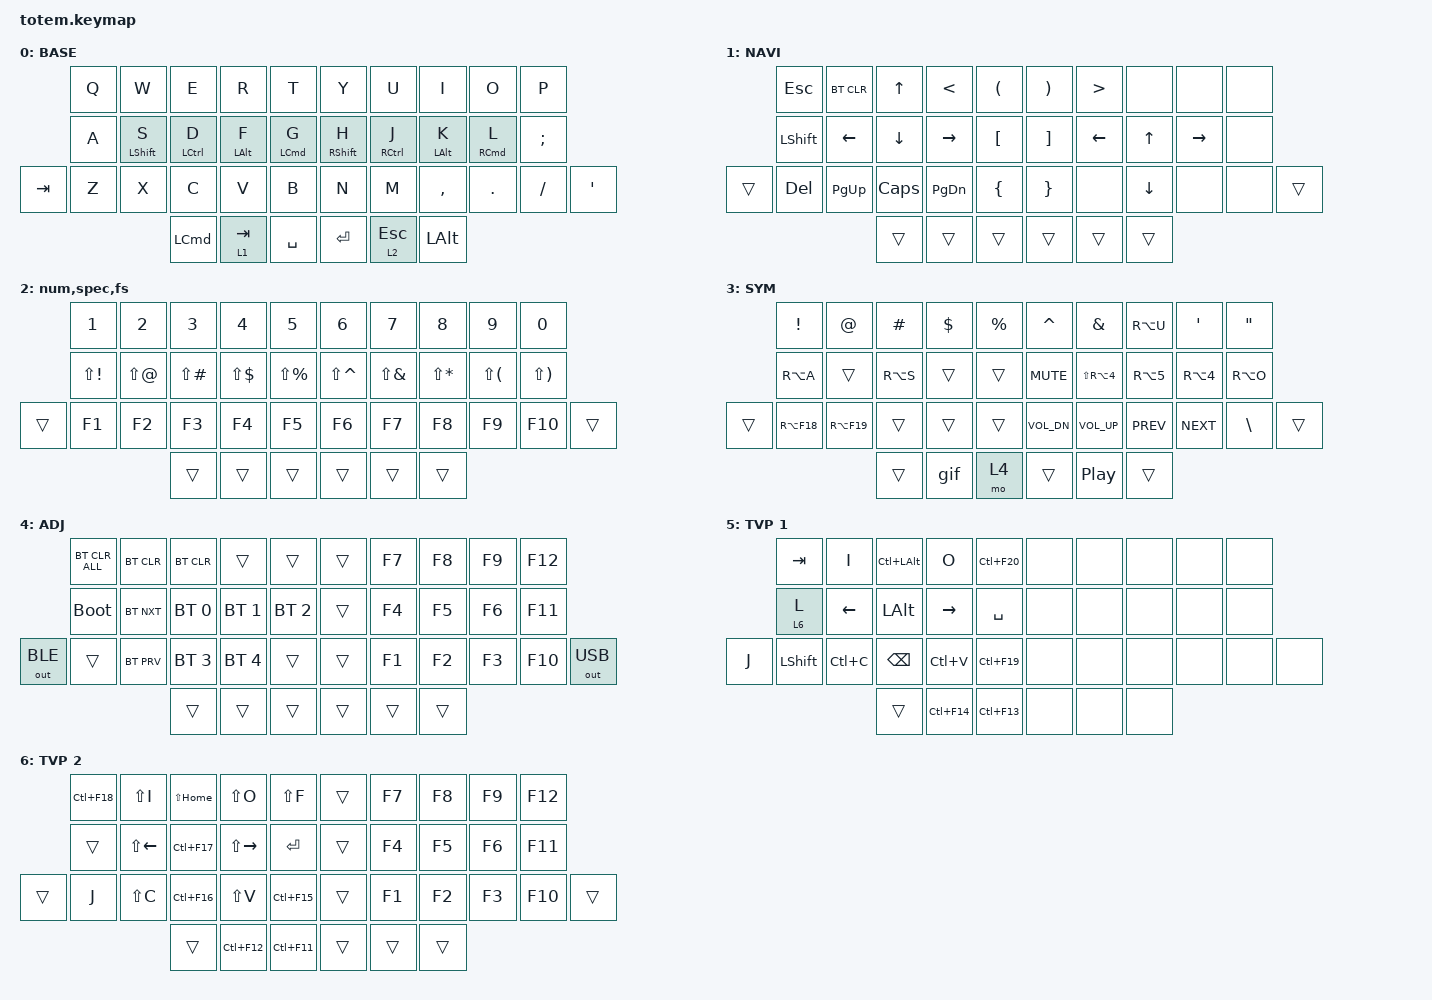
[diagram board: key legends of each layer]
//
//                                                        ▀▀▀▀▀     ▀▀▀▀▀          ▀▀█▀▀
//                                                        ▄▀▀▀▄  ▄  ▄▀▀▀▄  ▄  ▄▀▀▀▄  █  ▄▀▀▀▄
//                                                        █   █  █  █   █  █  █   █  █  █   █
//                                                         ▀▀▀   █   ▀▀▀   █   ▀▀▀   ▀   ▀▀▀
//                                                               █      ▄▄▄█▄▄▄    █   █  
//                                                               ▀      █  █  █     █▄█
//                                                             ▀▀▀▀▀    █  █  █      ▀
//                                                                      ▀  ▀  ▀
//
// ▄▄▄▄▄▄▄▄▄▄▄▄▄▄▄▄▄▄▄▄▄▄▄▄▄▄▄▄▄▄▄▄▄▄▄▄▄▄▄▄▄▄▄▄▄▄▄▄▄▄▄▄▄▄▄▄▄▄▄▄▄▄▄▄▄▄▄▄▄▄▄▄▄▄▄▄▄▄▄▄▄▄▄▄▄▄▄▄▄▄▄▄▄▄▄▄▄▄▄▄▄▄▄▄▄▄▄▄▄▄▄▄▄▄▄▄▄▄▄▄▄▄▄▄▄▄▄▄▄▄▄▄▄▄▄▄▄▄▄▄▄▄▄▄▄▄▄▄▄

#include <behaviors.dtsi>
#include <dt-bindings/zmk/bt.h>
#include <dt-bindings/zmk/keys.h>
#include <dt-bindings/zmk/outputs.h>

#define BASE 0
#define NAV  1
#define SYM  2
#define ADJ  3
#define TVP1 4
#define TVP2 5

&mt {
    quick-tap-ms = <100>;
    global-quick-tap;
    flavor = "tap-preferred";
    tapping-term-ms = <170>;
};

/ {
    combos {
        compatible = "zmk,combos";

        combo_esc {
            timeout-ms = <50>;
            key-positions = <0 1>;
            bindings = <&kp ESC>;
        };

        combo_tvp {
            timeout-ms = <100>;
            key-positions = <11 12 13>;
            bindings = <&tog 5>;
        };

        backspace {
            bindings = <&kp BACKSPACE>;
            key-positions = <8 9>;
        };

        tilde {
            bindings = <&kp GRAVE>;
            key-positions = <10 11>;
        };
    };

    macros {
        gif: gif {
            label = "giphy";
            compatible = "zmk,behavior-macro";
            #binding-cells = <0>;
            bindings =
                <&macro_press>,
                <&kp LSHFT>,
                <&macro_tap>,
                <&kp N2>,
                <&macro_release>,
                <&kp LSHFT>,
                <&macro_tap>,
                <&kp G &kp I &kp F>;
        };
    };

    keymap {
        compatible = "zmk,keymap";

        // ▄▄▄▄▄▄▄▄▄▄▄▄▄▄▄▄▄▄▄▄▄▄▄▄▄▄▄▄▄▄▄▄▄▄▄▄▄▄▄▄▄▄▄▄▄▄▄▄▄▄▄▄▄▄▄▄▄▄▄▄▄▄▄▄▄▄▄▄▄▄▄▄▄▄▄▄▄▄▄▄▄▄▄▄▄▄▄▄▄▄▄▄▄▄▄▄▄▄▄▄▄▄▄▄▄▄▄▄▄▄▄▄▄▄▄▄▄▄▄▄▄▄▄▄▄▄▄▄▄▄▄▄▄▄▄▄▄▄▄▄▄▄▄▄▄▄▄▄▄

        base_layer {
            // ┏━━━━━━━━━━━━━━━━━━━━━━━━━━━━━━━━━━━━━━━┓

            label = "BASE";

            // ┗━━━━━━━━━━━━━━━━━━━━━━━━━━━━━━━━━━━━━━━┛
            //             ┏━━━━━━━━━━━┳━━━━━━━━━━━┳━━━━━━━━━━━┳━━━━━━━━━━━┳━━━━━━━━━━━┓   ┏━━━━━━━━━━━┳━━━━━━━━━━━┳━━━━━━━━━━━┳━━━━━━━━━━━┳━━━━━━━━━━━┓
            //             ┃     Q     ┃     W     ┃     F     ┃     P     ┃     G     ┃   ┃     J     ┃     L     ┃     U     ┃     Y     ┃     ;     ┃
            //             ┣━━━━━━━━━━━╋━━━━━━━━━━━╋━━━━━━━━━━━╋━━━━━━━━━━━╋━━━━━━━━━━━┫   ┣━━━━━━━━━━━╋━━━━━━━━━━━╋━━━━━━━━━━━╋━━━━━━━━━━━╋━━━━━━━━━━━┫
            //             ┃     A     ┃     R     ┃     S     ┃     T     ┃     D     ┃   ┃     H     ┃     N     ┃     E     ┃     I     ┃     O     ┃
            // ┏━━━━━━━━━━━╋━━━━━━━━━━━╋━━━━━━━━━━━╋━━━━━━━━━━━╋━━━━━━━━━━━╋━━━━━━━━━━━┫   ┣━━━━━━━━━━━╋━━━━━━━━━━━╋━━━━━━━━━━━╋━━━━━━━━━━━╋━━━━━━━━━━━╋━━━━━━━━━━━┓
            // ┃     Q     ┃     Z     ┃     X     ┃     C     ┃     V     ┃     B     ┃   ┃     K     ┃     M     ┃     ,     ┃     .     ┃     /     ┃     \     ┃
            // ┗━━━━━━━━━━━┻━━━━━━━━━━━┻━━━━━━━━━━━╋━━━━━━━━━━━╋━━━━━━━━━━━╋━━━━━━━━━━━┫   ┣━━━━━━━━━━━╋━━━━━━━━━━━╋━━━━━━━━━━━╋━━━━━━━━━━━┻━━━━━━━━━━━┻━━━━━━━━━━━┛
            //                                     ┃    DEL    ┃    TAB    ┃    SPC    ┃   ┃   ENTER   ┃           ┃   BSPC    ┃
            //                                     ┗━━━━━━━━━━━┻━━━━━━━━━━━┻━━━━━━━━━━━┛   ┗━━━━━━━━━━━┻━━━━━━━━━━━┻━━━━━━━━━━━┛

            bindings = <
         &kp Q  &kp W             &kp E               &kp R           &kp T                 &kp Y              &kp U                &kp I           &kp O                &kp P
         &kp A  &mt LEFT_SHIFT S  &mt LEFT_CONTROL D  &mt LEFT_ALT F  &mt LEFT_COMMAND G    &mt RIGHT_SHIFT H  &mt RIGHT_CONTROL J  &mt LEFT_ALT K  &mt RIGHT_COMMAND L  &kp SEMICOLON
&kp TAB  &kp Z  &kp X             &kp C               &kp V           &kp B                 &kp N              &kp M                &kp COMMA       &kp DOT              &kp FSLH       &kp APOSTROPHE
                                  &kp LEFT_COMMAND    &lt 1 TAB       &kp SPACE             &kp RET            &lt 2 ESC            &kp LEFT_ALT
            >;
        };

        nav_layer {
            // ┏━━━━━━━━━━━━━━━━━━━━━━━━━━━━━━━━━━━━━━━┓

            label = "NAVI";

            // ┗━━━━━━━━━━━━━━━━━━━━━━━━━━━━━━━━━━━━━━━┛
            //             ┏━━━━━━━━━━━┳━━━━━━━━━━━┳━━━━━━━━━━━┳━━━━━━━━━━━┳━━━━━━━━━━━┓   ┏━━━━━━━━━━━┳━━━━━━━━━━━┳━━━━━━━━━━━┳━━━━━━━━━━━┳━━━━━━━━━━━┓
            //             ┃           ┃           ┃     UP    ┃           ┃     {     ┃   ┃     }     ┃     7     ┃     8     ┃     9     ┃     +     ┃
            //             ┣━━━━━━━━━━━╋━━━━━━━━━━━╋━━━━━━━━━━━╋━━━━━━━━━━━╋━━━━━━━━━━━┫   ┣━━━━━━━━━━━╋━━━━━━━━━━━╋━━━━━━━━━━━╋━━━━━━━━━━━╋━━━━━━━━━━━┫
            //             ┃   SHIFT   ┃   LEFT    ┃    DOWN   ┃   RIGHT   ┃     [     ┃   ┃     ]     ┃     4     ┃     5     ┃     6     ┃     -     ┃
            // ┏━━━━━━━━━━━╋━━━━━━━━━━━╋━━━━━━━━━━━╋━━━━━━━━━━━╋━━━━━━━━━━━╋━━━━━━━━━━━┫   ┣━━━━━━━━━━━╋━━━━━━━━━━━╋━━━━━━━━━━━╋━━━━━━━━━━━╋━━━━━━━━━━━╋━━━━━━━━━━━┓
            // ┃           ┃           ┃   P UP    ┃  C LOCK   ┃  P DOWN   ┃     (     ┃   ┃     )     ┃     1     ┃     2     ┃     3     ┃     *     ┃           ┃
            // ┗━━━━━━━━━━━┻━━━━━━━━━━━┻━━━━━━━━━━━╋━━━━━━━━━━━╋━━━━━━━━━━━╋━━━━━━━━━━━┫   ┣━━━━━━━━━━━╋━━━━━━━━━━━╋━━━━━━━━━━━╋━━━━━━━━━━━┻━━━━━━━━━━━┻━━━━━━━━━━━┛
            //                                     ┃           ┃    TAB    ┃    SPC    ┃   ┃    DEL    ┃     0     ┃           ┃
            //                                     ┗━━━━━━━━━━━┻━━━━━━━━━━━┻━━━━━━━━━━━┛   ┗━━━━━━━━━━━┻━━━━━━━━━━━┻━━━━━━━━━━━┛

            bindings = <
        &kp ESC    &bt BT_CLR  &kp UP    &kp LESS_THAN  &kp LEFT_PARENTHESIS    &kp RIGHT_PARENTHESIS  &kp GREATER_THAN  &none         &none      &none
        &kp LSHFT  &kp LEFT    &kp DOWN  &kp RIGHT      &kp LBKT                &kp RIGHT_BRACKET      &kp LEFT          &kp UP_ARROW  &kp RIGHT  &none
&trans  &kp DEL    &kp PG_UP   &kp CAPS  &kp PG_DN      &kp LEFT_BRACE          &kp RIGHT_BRACE        &none             &kp DOWN      &none      &none  &trans
                               &trans    &trans         &trans                  &trans                 &trans            &trans
            >;
        };

        num,spec,fs {
            bindings = <
        &kp N1        &kp N2      &kp N3         &kp N4        &kp N5           &kp N6         &kp N7        &kp N8        &kp N9        &kp N0
        &kp LS(EXCL)  &kp LS(AT)  &kp LS(POUND)  &kp LS(DLLR)  &kp LS(PRCNT)    &kp LS(CARET)  &kp LS(AMPS)  &kp LS(STAR)  &kp LS(LPAR)  &kp LS(RPAR)
&trans  &kp F1        &kp F2      &kp F3         &kp F4        &kp F5           &kp F6         &kp F7        &kp F8        &kp F9        &kp F10       &trans
                                  &trans         &trans        &trans           &trans         &trans        &trans
            >;
        };

        sim_layer {
            // ┏━━━━━━━━━━━━━━━━━━━━━━━━━━━━━━━━━━━━━━━┓

            label = "SYM";

            // ┗━━━━━━━━━━━━━━━━━━━━━━━━━━━━━━━━━━━━━━━┛
            //             ┏━━━━━━━━━━━┳━━━━━━━━━━━┳━━━━━━━━━━━┳━━━━━━━━━━━┳━━━━━━━━━━━┓   ┏━━━━━━━━━━━┳━━━━━━━━━━━┳━━━━━━━━━━━┳━━━━━━━━━━━┳━━━━━━━━━━━┓
            //             ┃     !     ┃     @     ┃     #     ┃     $     ┃     %     ┃   ┃     ˆ     ┃     &     ┃     Ü     ┃     '     ┃     "     ┃
            //             ┣━━━━━━━━━━━╋━━━━━━━━━━━╋━━━━━━━━━━━╋━━━━━━━━━━━╋━━━━━━━━━━━┫   ┣━━━━━━━━━━━╋━━━━━━━━━━━╋━━━━━━━━━━━╋━━━━━━━━━━━╋━━━━━━━━━━━┫
            //             ┃     Ä     ┃           ┃    SZ     ┃           ┃           ┃   ┃   MUTE    ┃   YEN     ┃   EURO    ┃  POUND    ┃     Ö     ┃
            // ┏━━━━━━━━━━━╋━━━━━━━━━━━╋━━━━━━━━━━━╋━━━━━━━━━━━╋━━━━━━━━━━━╋━━━━━━━━━━━┫   ┣━━━━━━━━━━━╋━━━━━━━━━━━╋━━━━━━━━━━━╋━━━━━━━━━━━╋━━━━━━━━━━━╋━━━━━━━━━━━┓
            // ┃           ┃  EMAIL1   ┃  EMAIL2   ┃           ┃           ┃           ┃   ┃   VOL-    ┃   VOL+    ┃   LAST    ┃   NEXT    ┃     \     ┃           ┃
            // ┗━━━━━━━━━━━┻━━━━━━━━━━━┻━━━━━━━━━━━╋━━━━━━━━━━━╋━━━━━━━━━━━╋━━━━━━━━━━━┫   ┣━━━━━━━━━━━╋━━━━━━━━━━━╋━━━━━━━━━━━╋━━━━━━━━━━━┻━━━━━━━━━━━┻━━━━━━━━━━━┛
            //                                     ┃           ┃    GIF    ┃    ADJ    ┃   ┃           ┃           ┃           ┃
            //                                     ┗━━━━━━━━━━━┻━━━━━━━━━━━┻━━━━━━━━━━━┛   ┗━━━━━━━━━━━┻━━━━━━━━━━━┻━━━━━━━━━━━┛

            bindings = <
        &kp EXCL     &kp AT       &kp HASH   &kp DLLR  &kp PRCNT    &kp CARET     &kp AMPS        &kp RA(U)   &kp SQT     &kp DQT
        &kp RA(A)    &trans       &kp RA(S)  &trans    &trans       &kp C_MUTE    &kp LS(RA(N4))  &kp RA(N5)  &kp RA(N4)  &kp RA(O)
&trans  &kp RA(F18)  &kp RA(F19)  &trans     &trans    &trans       &kp C_VOL_DN  &kp C_VOL_UP    &kp C_PREV  &kp C_NEXT  &kp BSLH   &trans
                                  &trans     &gif      &mo 4        &trans        &kp C_PP        &trans
            >;
        };

        adjust_layer {
            // ┏━━━━━━━━━━━━━━━━━━━━━━━━━━━━━━━━━━━━━━━┓

            label = "ADJ";

            // ┗━━━━━━━━━━━━━━━━━━━━━━━━━━━━━━━━━━━━━━━┛
            //             ┏━━━━━━━━━━━┳━━━━━━━━━━━┳━━━━━━━━━━━┳━━━━━━━━━━━┳━━━━━━━━━━━┓   ┏━━━━━━━━━━━┳━━━━━━━━━━━┳━━━━━━━━━━━┳━━━━━━━━━━━┳━━━━━━━━━━━┓
            //             ┃   RESET   ┃ BT CLEAR  ┃  OUT TOG  ┃           ┃           ┃   ┃           ┃    F7     ┃    F8     ┃    F9     ┃    F12    ┃
            //             ┣━━━━━━━━━━━╋━━━━━━━━━━━╋━━━━━━━━━━━╋━━━━━━━━━━━╋━━━━━━━━━━━┫   ┣━━━━━━━━━━━╋━━━━━━━━━━━╋━━━━━━━━━━━╋━━━━━━━━━━━╋━━━━━━━━━━━┫
            //             ┃ BOOTLOAD  ┃ BT NEXT   ┃           ┃           ┃           ┃   ┃           ┃    F4     ┃    F5     ┃    F6     ┃    F11    ┃
            // ┏━━━━━━━━━━━╋━━━━━━━━━━━╋━━━━━━━━━━━╋━━━━━━━━━━━╋━━━━━━━━━━━╋━━━━━━━━━━━┫   ┣━━━━━━━━━━━╋━━━━━━━━━━━╋━━━━━━━━━━━╋━━━━━━━━━━━╋━━━━━━━━━━━╋━━━━━━━━━━━┓
            // ┃           ┃           ┃ BT PREV   ┃           ┃           ┃           ┃   ┃           ┃    F1     ┃    F2     ┃    F3     ┃    F10    ┃           ┃
            // ┗━━━━━━━━━━━┻━━━━━━━━━━━┻━━━━━━━━━━━╋━━━━━━━━━━━╋━━━━━━━━━━━╋━━━━━━━━━━━┫   ┣━━━━━━━━━━━╋━━━━━━━━━━━╋━━━━━━━━━━━╋━━━━━━━━━━━┻━━━━━━━━━━━┻━━━━━━━━━━━┛
            //                                     ┃           ┃           ┃           ┃   ┃           ┃           ┃           ┃
            //                                     ┗━━━━━━━━━━━┻━━━━━━━━━━━┻━━━━━━━━━━━┛   ┗━━━━━━━━━━━┻━━━━━━━━━━━┻━━━━━━━━━━━┛

            bindings = <
              &bt BT_CLR_ALL  &bt BT_CLR  &bt BT_CLR    &trans        &trans          &trans  &kp F7  &kp F8  &kp F9  &kp F12
              &bootloader     &bt BT_NXT  &bt BT_SEL 0  &bt BT_SEL 1  &bt BT_SEL 2    &trans  &kp F4  &kp F5  &kp F6  &kp F11
&out OUT_BLE  &trans          &bt BT_PRV  &bt BT_SEL 3  &bt BT_SEL 4  &trans          &trans  &kp F1  &kp F2  &kp F3  &kp F10  &out OUT_USB
                                          &trans        &trans        &trans          &trans  &trans  &trans
            >;
        };

        tvp1_layer {
            // ┏━━━━━━━━━━━━━━━━━━━━━━━━━━━━━━━━━━━━━━━┓

            label = "TVP 1";

            // ┗━━━━━━━━━━━━━━━━━━━━━━━━━━━━━━━━━━━━━━━┛
            //             ┏━━━━━━━━━━━┳━━━━━━━━━━━┳━━━━━━━━━━━┳━━━━━━━━━━━┳━━━━━━━━━━━┓   ┏━━━━━━━━━━━┳━━━━━━━━━━━┳━━━━━━━━━━━┳━━━━━━━━━━━┳━━━━━━━━━━━┓
            //             ┃ NEXT FILE ┃ MARK IN   ┃ ROTATE    ┃ MARK OUT  ┃ SHOW SNAP ┃   ┃           ┃           ┃           ┃           ┃           ┃
            //             ┣━━━━━━━━━━━╋━━━━━━━━━━━╋━━━━━━━━━━━╋━━━━━━━━━━━╋━━━━━━━━━━━┫   ┣━━━━━━━━━━━╋━━━━━━━━━━━╋━━━━━━━━━━━╋━━━━━━━━━━━╋━━━━━━━━━━━┫
            //             ┃ TVP II    ┃ LEFT      ┃ PAN       ┃ RIGHT     ┃ PLAY/FLIP ┃   ┃           ┃           ┃           ┃           ┃           ┃
            // ┏━━━━━━━━━━━╋━━━━━━━━━━━╋━━━━━━━━━━━╋━━━━━━━━━━━╋━━━━━━━━━━━╋━━━━━━━━━━━┫   ┣━━━━━━━━━━━╋━━━━━━━━━━━╋━━━━━━━━━━━╋━━━━━━━━━━━╋━━━━━━━━━━━╋━━━━━━━━━━━┓
            // ┃ FULLSCR   ┃ SHIFT     ┃ COPY      ┃ DELETE    ┃ PASTE     ┃ IMG MARK  ┃   ┃           ┃           ┃           ┃           ┃           ┃           ┃
            // ┗━━━━━━━━━━━┻━━━━━━━━━━━┻━━━━━━━━━━━╋━━━━━━━━━━━╋━━━━━━━━━━━╋━━━━━━━━━━━┫   ┣━━━━━━━━━━━╋━━━━━━━━━━━╋━━━━━━━━━━━╋━━━━━━━━━━━┻━━━━━━━━━━━┻━━━━━━━━━━━┛
            //                                     ┃           ┃ UNDO/SAVE ┃  SEL/MOV  ┃   ┃           ┃           ┃           ┃
            //                                     ┗━━━━━━━━━━━┻━━━━━━━━━━━┻━━━━━━━━━━━┛   ┗━━━━━━━━━━━┻━━━━━━━━━━━┻━━━━━━━━━━━┛

            bindings = <
       &kp TAB    &kp I      &kp LC(LALT)  &kp O        &kp LC(F20)    &none  &none  &none  &none  &none
       &lt 6 L    &kp LEFT   &kp LALT      &kp RIGHT    &kp SPACE      &none  &none  &none  &none  &none
&kp J  &kp LSHFT  &kp LC(C)  &kp BSPC      &kp LC(V)    &kp LC(F19)    &none  &none  &none  &none  &none  &none
                             &trans        &kp LC(F14)  &kp LC(F13)    &none  &none  &none
            >;
        };

        tvp2_layer {
            // ┏━━━━━━━━━━━━━━━━━━━━━━━━━━━━━━━━━━━━━━━┓

            label = "TVP 2";

            // ┗━━━━━━━━━━━━━━━━━━━━━━━━━━━━━━━━━━━━━━━┛
            //             ┏━━━━━━━━━━━┳━━━━━━━━━━━┳━━━━━━━━━━━┳━━━━━━━━━━━┳━━━━━━━━━━━┓   ┏━━━━━━━━━━━┳━━━━━━━━━━━┳━━━━━━━━━━━┳━━━━━━━━━━━┳━━━━━━━━━━━┓
            //             ┃ SOLO      ┃ TOGGLE IN ┃ RESET ROT ┃ TOGGLE OUT┃ TAKE SNAP ┃   ┃           ┃           ┃           ┃           ┃           ┃
            //             ┣━━━━━━━━━━━╋━━━━━━━━━━━╋━━━━━━━━━━━╋━━━━━━━━━━━╋━━━━━━━━━━━┫   ┣━━━━━━━━━━━╋━━━━━━━━━━━╋━━━━━━━━━━━╋━━━━━━━━━━━╋━━━━━━━━━━━┫
            //             ┃ ---       ┃ LAST KEY  ┃ NEW KEY   ┃ NEXT KEY  ┃ ENTER     ┃   ┃           ┃           ┃           ┃           ┃           ┃
            // ┏━━━━━━━━━━━╋━━━━━━━━━━━╋━━━━━━━━━━━╋━━━━━━━━━━━╋━━━━━━━━━━━╋━━━━━━━━━━━┫   ┣━━━━━━━━━━━╋━━━━━━━━━━━╋━━━━━━━━━━━╋━━━━━━━━━━━╋━━━━━━━━━━━╋━━━━━━━━━━━┓
            // ┃           ┃ FULLSCR   ┃ CPY2BRUSH ┃ DEL HEAD  ┃ PSTinPLACE┃ BOOK MARK ┃   ┃           ┃           ┃           ┃           ┃           ┃           ┃
            // ┗━━━━━━━━━━━┻━━━━━━━━━━━┻━━━━━━━━━━━╋━━━━━━━━━━━╋━━━━━━━━━━━╋━━━━━━━━━━━┫   ┣━━━━━━━━━━━╋━━━━━━━━━━━╋━━━━━━━━━━━╋━━━━━━━━━━━┻━━━━━━━━━━━┻━━━━━━━━━━━┛
            //                                     ┃           ┃ REDO/SAV1 ┃TRANS/WARP ┃   ┃           ┃           ┃           ┃
            //                                     ┗━━━━━━━━━━━┻━━━━━━━━━━━┻━━━━━━━━━━━┛   ┗━━━━━━━━━━━┻━━━━━━━━━━━┻━━━━━━━━━━━┛

            bindings = <
        &kp LC(F18)  &kp LS(I)     &kp LS(HOME)  &kp LS(O)      &kp LS(F)      &trans  &kp F7  &kp F8  &kp F9  &kp F12
        &trans       &kp LS(LEFT)  &kp LC(F17)   &kp LS(RIGHT)  &kp RET        &trans  &kp F4  &kp F5  &kp F6  &kp F11
&trans  &kp J        &kp LS(C)     &kp LC(F16)   &kp LS(V)      &kp LC(F15)    &trans  &kp F1  &kp F2  &kp F3  &kp F10  &trans
                                   &trans        &kp LC(F12)    &kp LC(F11)    &trans  &trans  &trans
            >;
        };
    };

    conditional_layers {
        compatible = "zmk,conditional-layers";

        trilayer {
            if-layers = <1 2>;
            then-layer = <4>;
        };
    };
};
